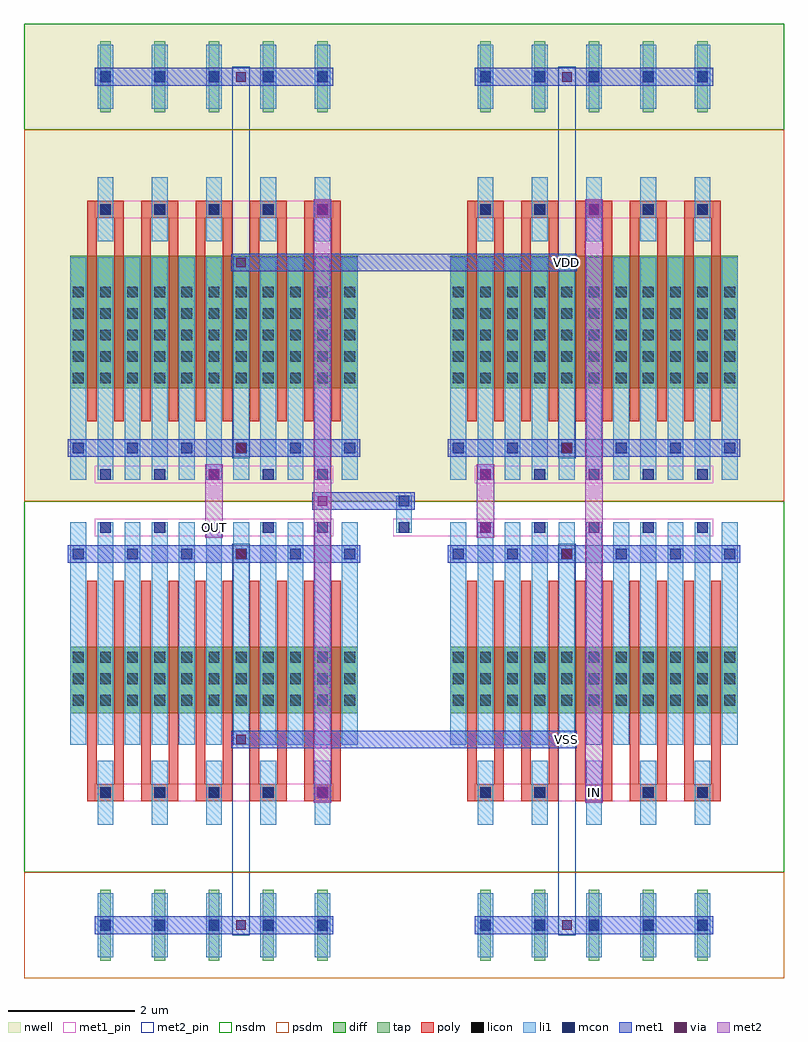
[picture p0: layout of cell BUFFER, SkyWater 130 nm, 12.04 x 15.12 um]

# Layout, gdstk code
import gdstk
lib = gdstk.Library(unit=1e-6, precision=1e-09)
def R(c, l, rs):  # rectangles x0, y0, x1, y1
    for r in rs: c.add(gdstk.rectangle(r[:2], r[2:], *l))
def A(c, l, x, y, w, h, nx, ny, dx, dy):  # array of equal rectangles
    R(c, l, [(x+i*dx, y+j*dy, x+i*dx+w, y+j*dy+h) for i in range(nx) for j in range(ny)])
nwell = (64, 20)
diff = (65, 20)
tap = (65, 44)
poly = (66, 20)
licon = (66, 44)
li1 = (67, 20)
mcon = (67, 44)
met1_pin = (68, 16)
met1 = (68, 20)
via = (68, 44)
met2_pin = (69, 16)
met2 = (69, 20)
nsdm = (93, 44)
psdm = (94, 20)

buffer = lib.new_cell('BUFFER')
R(buffer, nwell, [(0,7.56,6.02,15.12), (6.02,7.56,12.04,15.12)])
R(buffer, diff, [(0.735,4.2,5.285,5.25), (6.755,4.2,11.305,5.25), (0.735,9.345,5.285,11.445), (6.755,9.345,11.305,11.445)])
A(buffer, tap, 1.205, 0.28, 0.17, 1.12, 5, 2, 0.86, 13.44)
A(buffer, tap, 7.225, 0.28, 0.17, 1.12, 5, 2, 0.86, 13.44)
A(buffer, poly, 1, 2.805, 0.58, 0.27, 5, 2, 0.86, 9.24)
A(buffer, poly, 7.02, 2.805, 0.58, 0.27, 5, 2, 0.86, 9.24)
A(buffer, poly, 1, 2.94, 0.15, 3.36, 10, 2, 0.43, 5.88)
A(buffer, poly, 7.02, 2.94, 0.15, 3.36, 10, 2, 0.43, 5.88)
A(buffer, licon, 1.205, 0.755, 0.17, 0.17, 5, 2, 0.86, 2.1)
A(buffer, licon, 7.225, 0.755, 0.17, 0.17, 5, 2, 0.86, 2.1)
A(buffer, licon, 0.775, 4.32, 0.17, 0.17, 3, 3, 0.43, 0.34)
A(buffer, licon, 1.635, 4.32, 0.17, 0.17, 3, 3, 0.43, 0.34)
A(buffer, licon, 2.495, 4.32, 0.17, 0.17, 3, 3, 0.43, 0.34)
A(buffer, licon, 3.355, 4.32, 0.17, 0.17, 3, 3, 0.43, 0.34)
A(buffer, licon, 4.215, 4.32, 0.17, 0.17, 3, 3, 0.43, 0.34)
A(buffer, licon, 6.795, 4.32, 0.17, 0.17, 3, 3, 0.43, 0.34)
A(buffer, licon, 7.655, 4.32, 0.17, 0.17, 3, 3, 0.43, 0.34)
A(buffer, licon, 8.515, 4.32, 0.17, 0.17, 3, 3, 0.43, 0.34)
A(buffer, licon, 9.375, 4.32, 0.17, 0.17, 3, 3, 0.43, 0.34)
A(buffer, licon, 10.235, 4.32, 0.17, 0.17, 3, 3, 0.43, 0.34)
A(buffer, licon, 0.775, 9.425, 0.17, 0.17, 3, 5, 0.43, 0.34)
A(buffer, licon, 1.635, 9.425, 0.17, 0.17, 3, 5, 0.43, 0.34)
A(buffer, licon, 2.495, 9.425, 0.17, 0.17, 3, 5, 0.43, 0.34)
A(buffer, licon, 3.355, 9.425, 0.17, 0.17, 3, 5, 0.43, 0.34)
A(buffer, licon, 4.215, 9.425, 0.17, 0.17, 3, 5, 0.43, 0.34)
A(buffer, licon, 6.795, 9.425, 0.17, 0.17, 3, 5, 0.43, 0.34)
A(buffer, licon, 7.655, 9.425, 0.17, 0.17, 3, 5, 0.43, 0.34)
A(buffer, licon, 8.515, 9.425, 0.17, 0.17, 3, 5, 0.43, 0.34)
A(buffer, licon, 9.375, 9.425, 0.17, 0.17, 3, 5, 0.43, 0.34)
A(buffer, licon, 10.235, 9.425, 0.17, 0.17, 3, 5, 0.43, 0.34)
A(buffer, licon, 1.205, 12.095, 0.17, 0.17, 5, 2, 0.86, 2.1)
A(buffer, licon, 7.225, 12.095, 0.17, 0.17, 5, 2, 0.86, 2.1)
A(buffer, li1, 1.165, 0.335, 0.25, 1.01, 5, 2, 0.86, 2.1)
A(buffer, li1, 7.185, 0.335, 0.25, 1.01, 5, 2, 0.86, 2.1)
A(buffer, li1, 0.735, 3.695, 0.25, 3.53, 11, 2, 0.43, 4.2)
A(buffer, li1, 6.755, 3.695, 0.25, 3.53, 11, 2, 0.43, 4.2)
A(buffer, li1, 1.165, 11.675, 0.25, 1.01, 5, 2, 0.86, 2.1)
A(buffer, li1, 7.185, 11.675, 0.25, 1.01, 5, 2, 0.86, 2.1)
R(buffer, li1, [(5.895,7.055,6.145,7.645)])
A(buffer, mcon, 1.205, 0.755, 0.17, 0.17, 5, 2, 0.86, 2.1)
A(buffer, mcon, 7.225, 0.755, 0.17, 0.17, 5, 2, 0.86, 2.1)
A(buffer, mcon, 0.775, 6.635, 0.17, 0.17, 6, 2, 0.86, 1.68)
A(buffer, mcon, 6.795, 6.635, 0.17, 0.17, 6, 2, 0.86, 1.68)
A(buffer, mcon, 1.205, 7.055, 0.17, 0.17, 5, 2, 0.86, 0.84)
A(buffer, mcon, 7.225, 7.055, 0.17, 0.17, 5, 2, 0.86, 0.84)
A(buffer, mcon, 1.205, 12.095, 0.17, 0.17, 5, 2, 0.86, 2.1)
A(buffer, mcon, 7.225, 12.095, 0.17, 0.17, 5, 2, 0.86, 2.1)
R(buffer, mcon, [(5.935,7.055,6.105,7.225), (5.935,7.475,6.105,7.645)])
R(buffer, met1_pin, [(1.12,2.8,4.9,3.08), (7.14,2.8,10.92,3.08), (1.12,7,4.9,7.28), (5.85,7,10.92,7.28), (1.12,7.84,4.9,8.12), (7.14,7.84,10.92,8.12), (1.12,12.04,4.9,12.32), (7.14,12.04,10.92,12.32)])
R(buffer, met1, [(1.12,0.7,4.9,0.98), (7.14,0.7,10.92,0.98), (3.28,3.64,8.76,3.92), (0.69,6.58,5.33,6.86), (6.71,6.58,11.35,6.86), (4.57,7.42,6.19,7.7), (0.69,8.26,5.33,8.54), (6.71,8.26,11.35,8.54), (3.28,11.2,8.76,11.48), (1.12,14.14,4.9,14.42), (7.14,14.14,10.92,14.42)])
A(buffer, via, 3.365, 0.765, 0.15, 0.15, 1, 3, 0, 2.94)
A(buffer, via, 8.525, 0.765, 0.15, 0.15, 1, 3, 0, 2.94)
A(buffer, via, 4.655, 2.865, 0.15, 0.15, 1, 3, 0, 4.62)
A(buffer, via, 3.365, 8.325, 0.15, 0.15, 1, 3, 0, 2.94)
A(buffer, via, 8.525, 8.325, 0.15, 0.15, 1, 3, 0, 2.94)
R(buffer, via, [(8.955,2.865,9.105,3.015), (2.935,7.065,3.085,7.215), (7.235,7.065,7.385,7.215), (2.935,7.905,3.085,8.055), (7.235,7.905,7.385,8.055), (8.955,12.105,9.105,12.255)])
R(buffer, met2_pin, [(3.3,0.68,3.58,6.88), (8.46,0.68,8.74,6.88), (3.3,8.24,3.58,14.44), (8.46,8.24,8.74,14.44)])
R(buffer, met2, [(4.59,2.78,4.87,12.34), (8.89,2.78,9.17,12.34), (2.87,6.98,3.15,8.14), (7.17,6.98,7.45,8.14)])
R(buffer, nsdm, [(0,1.68,6.02,7.56), (6.02,1.68,12.04,7.56), (0,13.44,6.02,15.12), (6.02,13.44,12.04,15.12)])
R(buffer, psdm, [(0,0,6.02,1.68), (6.02,0,12.04,1.68), (0,7.56,6.02,13.44), (6.02,7.56,12.04,13.44)])
buffer.add(gdstk.Label('OUT', (3.01,7.14), layer=68, texttype=5))
buffer.add(gdstk.Label('IN', (9.03,2.94), layer=68, texttype=5))
buffer.add(gdstk.Label('VSS', (8.6,3.78), layer=69, texttype=5))
buffer.add(gdstk.Label('VDD', (8.6,11.34), layer=69, texttype=5))

lib.write_gds('BUFFER.gds')
